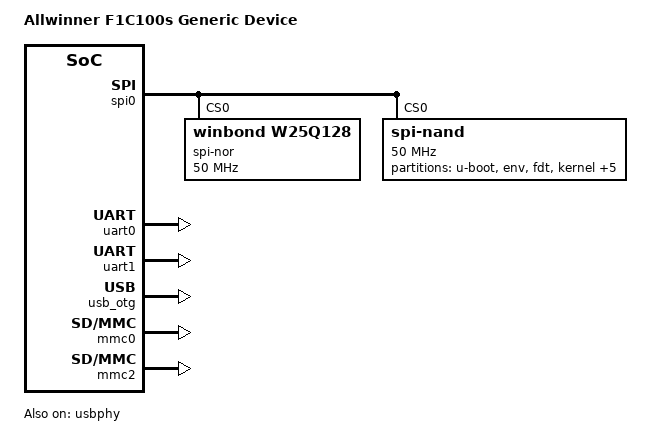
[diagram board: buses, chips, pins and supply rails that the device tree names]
// SPDX-License-Identifier: (GPL-2.0+ OR X11)

/dts-v1/;
#include "suniv-f1c100s.dtsi"

#include <dt-bindings/gpio/gpio.h>

/ {
	model = "Allwinner F1C100s Generic Device";
	compatible = "allwinner,suniv-f1c100s",
		     "allwinner,suniv";

	aliases {
		serial0 = &uart1;
		spi0 = &spi0;
	};

	chosen {
		stdout-path = "serial0:115200n8";
	};
};

&otg_sram {
	status = "okay";
};

&spi0 {
	pinctrl-names = "default";
	pinctrl-0 = <&spi0_pins_a>;
	status = "okay";
        spi-nor@0 {
		#address-cells = <1>;
		#size-cells = <1>;
		reg = <0>;
		compatible = "winbond,w25q128", "jedec,spi-nor";
		spi-max-frequency = <50000000>;
	};
	
	spi-nand@1 {
		#address-cells = <1>;
		#size-cells = <1>;
		reg = <0>;
		compatible = "spi-nand", "allwinner,sun4i-a10-nand";
		spi-max-frequency = <50000000>;
		partitions {
            compatible = "fixed-partitions";
            #address-cells = <1>;
            #size-cells = <1>;
            partition@0 {
                label = "u-boot";
                reg = <0x000000 0x100000>;
                read-only;
            };
            partition@100000 {
                label = "env";
                reg = <0x100000 0x80000>;
                read-only;
            };
			partition@180000 {
                label = "fdt";
                reg = <0x180000 0x200000>;
                read-only;
            };
            partition@200000 {
                label = "kernel";
                reg = <0x200000 0xA00000>;
                read-only;
            };
            partition@c00000 {
                label = "rootfs";
                reg = <0xc00000 0x1e00000>;
            };
			partition@2a00000 {
                label = "bsp";
                reg = <0x2a00000 0x1400000>;
            };
		    partition@3e00000 {
                label = "sys";
                reg = <0x3e00000 0x1400000>;
            };
			partition@5200000 {
                label = "swap";
                reg = <0x5200000 0x1e00000>;
            };
			partition@7000000 {
                label = "data";
                reg = <0x7000000 0x1000000>;
            };
        };
	};
};

&uart0 {
	pinctrl-names = "default";
	pinctrl-0 = <&uart0_pins_a>;
	status = "okay";
};

&uart1 {
	pinctrl-names = "default";
	pinctrl-0 = <&uart1_pins_a>;
	status = "okay";
};

&usb_otg {
	status = "okay";
};

&usbphy {
	status = "okay";
};

&mmc0 {
	status = "okay";
};

&mmc2 {
	status = "okay";
};
